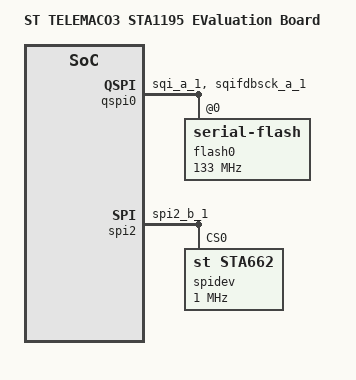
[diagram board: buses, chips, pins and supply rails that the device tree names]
/*
 * Copyright (C) 2016 STMicroelectronics
 * Author: Jean-Nicolas Graux <jean-nicolas.graux@st.com>
 *
 * This program is free software; you can redistribute it and/or modify
 * it under the terms of the GNU General Public License version 2, as
 * published by the Free Software Foundation.
 */

/dts-v1/;
#include "sta1195.dtsi"
#include "ste-nomadik-pinctrl.dtsi"
#include "sta1295-audio.dtsi"

/ {
	model = "ST TELEMACO3 STA1195 EValuation Board";
	compatible = "st,sta1195";

	chosen {
		bootargs = "console=ttyAMA2,115200n8 root=/dev/mmcblk0p1
		rw rootwait earlyprintk";

	};

	soc {
		can0: c_can@40010000 {
			pinctrl-names = "default";
			pinctrl-0 = <&can0_default_mux>;
			status = "disabled";
		};

		can1: m_can@50183000 {
			pinctrl-names = "default";
			pinctrl-0 = <&can1_default_mux>;
		};

		can2: m_can@50183400 {
			pinctrl-names = "default";
			pinctrl-0 = <&can2_default_mux>;
		};

		ethernet0: dwmac@500a0000 {
			pinctrl-names = "default";
			pinctrl-0 = <&eth_default_mux>;
			snps,reset-gpio = <&gpio1 3 0>;
			snps,reset-active-low;
			snps,reset-delays-us = <100 100 100>;
			phy-mode = "rgmii";
			mac-address = [00 00 00 00 00 00];  /* Filled by U-boot */
			rxc-skew-ps = <1500>;
			txd1-skew-ps = <1320>;
		};

		fsmc: flash@80000000 {
			pinctrl-names = "default";
			pinctrl-0 = <&fsmc_default_mux>;
		};

		i2c0: i2c@50160000 {
			pinctrl-names = "default";
			pinctrl-0 = <&i2c0_default_mux>;
		};

		i2c1: i2c@50040000 {
			pinctrl-names = "default";
			pinctrl-0 = <&i2c1_default_mux>;
		};

		i2c2: i2c@50030000 {
			pinctrl-names = "default";
			pinctrl-0 = <&i2c2_default_mux>;
		};

		msp0: msp@48000000 {
			pinctrl-names = "default", "sleep";
			pinctrl-0 = <&i2s0_default_mux>;
			pinctrl-1 = <&i2s0_default_mux>;
			i2s {
				/* GCR */
				tx-clk-pol = "falling";
				rx-clk-pol = "rising";
				tx-fsync-sel = "master";
				rx-fsync-sel = "master";
				tx-clk-sel = "master";
				rx-clk-sel = "master";
				/* TCF */
				tx-elem-len-1 = <32>;
				tx-frame-len-1 = <1>;
				tx-data-delay = <1>;
				/* RCF */
				rx-elem-len-1 = <16>;
				rx-frame-len-1 = <1>;
				rx-data-delay = <1>;
			};
		};

		prm {
			st,do_poweroff_on_sby;
		};

		sdi0: sdi@50080000 {
			pinctrl-names = "default";
			pinctrl-0 = <&sdi0_default_mux>;
		};

		sdi1: sdi@50070000 {
			pinctrl-names = "default";
			pinctrl-0 = <&sdi1_default_mux>;
			bus-width = <4>;
			max-frequency = <50000000>;
			st,sig-pin-fbclk;
			st,fbclk-inverted;
			broken-cd;
		};

		qspi0: sqi@50200000 {
			status = "okay";
			pinctrl-names = "default";
			pinctrl-0 = <&sqi_default_mux>;

			flash0: serial-flash@0 {
				#address-cells = <1>;
				#size-cells = <1>;
				spi-max-frequency = <133000000>;
			};
		};

		sdi2: sdi@500B0000 {
			pinctrl-names = "default";
			pinctrl-0 = <&sdi2_default_mux>;
			max-frequency = <50000000>;
			st,sig-pin-fbclk;
			st,fbclk-inverted;
			broken-cd;
			/* disabled because in competition with the fsmc */
			status = "disabled";
		};

		sai1: sai@48D08C00 {
			status = "disabled";
			pinctrl-names = "default";
			pinctrl-0 = <&sai1_default_mux>;
		};

		sai2: sai@48D08C04 {
			status = "disabled";
			pinctrl-names = "default";
			pinctrl-0 = <&sai2_default_mux>;
		};

		sai3: sai@48D08C08 {
			status = "disabled";
			pinctrl-names = "default";
			pinctrl-0 = <&sai3_default_mux>;
		};

		sai4: sai@48D08C0C {
			pinctrl-names = "default";
			pinctrl-0 = <&sai4_default_mux>;
		};

		spi0: spi@50170000 {
			status = "disabled";
		};

		spi1: spi@50060000 {
			status = "disabled";
		};

		spi2: spi@50050000 {
			pinctrl-names = "default";
			pinctrl-0 = <&spi2_default_mux>;
			num-cs = <1>;
			spidev@0 {
				compatible = "st,sta662";
				spi-max-frequency = <1000000>;
				reg = <0>;
				spi-cpol;
				spi-cpha;
				pl022,hierarchy = <0>;
				pl022,interface = <0>;
				pl022,duplex = <0>;
			};
		};

		uart0: uart@50150000 {
			pinctrl-names = "default";
			pinctrl-0 = <&uart0_default_mux>;
		};

		uart1: uart@50000000 {
			pinctrl-names = "default";
			pinctrl-0 = <&uart1_default_mux>;
		};

		uart2: uart@50010000 {
			status = "disabled";
		};

		uart3: uart@50020000 {
			pinctrl-names = "default";
			pinctrl-0 = <&uart3_default_mux>;
		};

		usb0: usb@48400000 {
			st,vbus_sensing_gadget;
			st,vbus_raw_limit = <0x300>;
			io-channels = <&saradc 4>;
		};

		usb1: usb@48500000 {
			st,vbus_sensing_gadget;
			st,vbus_raw_limit = <0x300>;
			io-channels = <&saradc 5>;
		};

		usbphy: usb-phy@48440000 {
			pinctrl-names = "default", "sleep";
			pinctrl-0 = <&drvvbus_default_mux>;
			pinctrl-1 = <&drvvbus_default_mux>;
			st,usb0_mode = "HOST";
			st,usb1_mode = "DEVICE";
			st,usb1_cdp;
		};

		pinctrl {
			can0 {
				can0_default_mux: can_mux {
					default_mux {
						function = "can0";
						groups = "can0_a_1";
					};
				};
			};
			can1 {
				can1_default_mux: can_mux {
					default_mux {
						function = "can1";
						groups = "can1_c_1";
					};
				};
			};
			can2 {
				can2_default_mux: can_mux {
					default_mux {
						function = "can2";
						groups = "can2_c_1";
					};
				};
			};
			eth {
				eth_default_mux: eth_mux {
					default_mux {
						function = "eth";
						groups = "ethmdio_a_1",
							"ethmdc_a_1",
							"ethrmii_a_1",
							/* Rx Clock for RMII & RGMII */
							"ethmiirxclk_b_1",
							/* Tx Clock for RGMII */
							"ethmiitxclk_a_1",
							"ethmii_a_1";
					};
				};
			};
			fsmc {
				fsmc_default_mux: fsmc_mux {
					default_mux {
						function = "fsmc";
						groups = "fsmcsmadq0to7_a_1",
							"fsmcwpn_a_1",
							"fsmcbusy_a_1",
							"fsmcoen_a_1",
							"fsmcwen_a_1",
							"fsmcsmad17ale_a_1",
							"fsmcsmad16cle_a_1",
							"fsmcnandcs0n_a_1";
					};
				};
			};
			i2c0 {
				i2c0_default_mux: i2c_mux {
					default_mux {
						function = "i2c0";
						groups = "i2c0_a_2";
					};
				};
			};
			i2c1 {
				i2c1_default_mux: i2c_mux {
					default_mux {
						function = "i2c1";
						groups = "i2c1_a_1";
					};
				};
			};
			i2c2 {
				i2c2_default_mux: i2c_mux {
					default_mux {
						function = "i2c2";
						groups = "i2c2_a_1";
					};
				};
			};
			i2s0 {
				i2s0_default_mux: i2s_mux {
					default_mux {
						function = "i2s0";
						groups = "i2s0_a_1",
							"i2s0tx_a_1";
					};
				};
			};
			i2s2 {
				i2s2_default_mux: i2s_mux {
					default_mux {
						function = "i2s2";
						groups = "i2s2_c_1";
					};
				};
			};
			sqi {
				sqi_default_mux: sqi_mux {
					default_mux {
						function = "sqi";
						groups = "sqi_a_1",
							"sqifdbsck_a_1";
					};
				};
			};
			sai1 {
				sai1_default_mux: sai_mux {
					default_mux {
						function = "sai1";
						groups = "sai1_a_1";
					};
				};
			};
			sai2 {
				sai2_default_mux: sai_mux {
					default_mux {
						function = "sai2";
						groups = "sai2_a_1";
					};
				};
			};
			sai3 {
				sai3_default_mux: sai_mux {
					default_mux {
						function = "sai3";
						groups = "sai3bclk_a_1",
						"sai3fs_a_1",
						"sai3rx0_a_1",
						"sai3rx1_a_1",
						"sai3rx2_a_1";
					};
				};
			};
			sai4 {
				sai4_default_mux: sai_mux {
					default_mux {
						function = "sai4";
						groups = "sai4bclk_c_1",
							"sai4fs_c_1",
							"sai4rx0_c_1",
							"sai4rx1_c_1";
					};
				};
			};
			sdi0 {
				sdi0_default_mux: sdi_mux {
					default_mux {
						function = "mc0";
						groups = "mc0fbclk_b_1";
					};
				};
			};
			sdi1 {
				sdi1_default_mux: sdi_mux {
					default_mux {
						function = "mc1";
						groups = "mc1cmd_a_1",
							"mc1clk_a_1",
							"mc1dat0_a_1",
							"mc1dat123_b_1",
							"mc1fbclk_c_1";
					};
				};
			};
			sdi2 {
				sdi2_default_mux: sdi_mux {
					default_mux {
						function = "mc2";
						groups = "mc2_b_1",
							"mc2data4to7_b_1",
							"mc2fbclk_b_1";
					};
				};
			};
			spi1 {
				spi1_default_mux: spi_mux {
					default_mux {
						function = "spi1";
						groups = "spi1_a_1";
						/* groups = "spi1ss_a_1",
							"spi1_a_1"; */
					};
				};
			};
			spi2 {
				spi2_default_mux: spi_mux {
					default_mux {
						function = "spi2";
						groups = "spi2_b_1";
						/* groups = "spi2ss_c_1",
							"spi2_b_1"; */
					};
				};
			};
			uart0 {
				uart0_default_mux: uart_mux {
					default_mux {
						function = "u0";
						groups = "u0rxtx_a_1",
							"u0rtscts_a_1";
					};
				};
			};
			uart1 {
				uart1_default_mux: uart_mux {
					default_mux {
						function = "u1";
						groups = "u1rxtx_b_1";
					};
					/*
					 *  Disable pull resistor of uart1 rx pin by default
					 *  as it may prevent initial handshake with some
					 *  remote device (like Teseo chip) to work properly.
					 */
					default_cfg {
						pins = "GPIO29";
						ste,config = <&in_nopull>;
					};
				};
			};
			uart3 {
				uart3_default_mux: uart_mux {
					default_mux {
						function = "u3";
						groups = "u3rxtx_a_1";
					};
				};
			};
			usbphy {
				drvvbus_default_mux: drvvbus_default_mux {
					default_mux {
						function = "usb";
						groups = "usb0drvvbus_b_1",
							 "usb1drvvbus_c_1";
					};
				};
			};
			wdg {
				wdg_default_mux: wdg_mux {
					default_mux {
						function = "wdg";
						groups = "wdgswrstout_a_1";
					};
				};
			};
		};
	};
};
